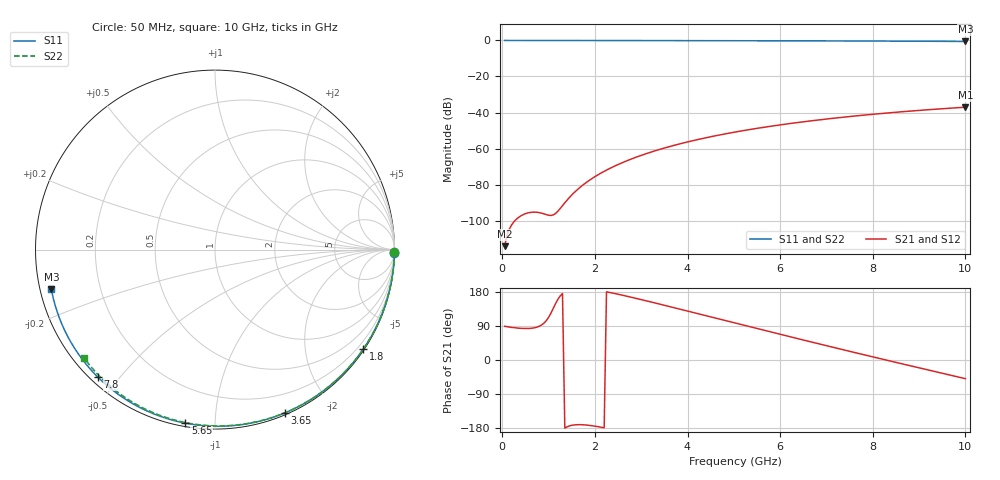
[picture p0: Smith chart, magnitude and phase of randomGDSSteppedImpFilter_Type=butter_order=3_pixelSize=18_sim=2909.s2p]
! freq	dB(S11)	phase(S11)	dB(S12)	phase(S12)
!  dB(S21)	phase(S21)	dB(S22)	phase(S22)
!S-par simulation data
#  GHz  S  DB  R 50
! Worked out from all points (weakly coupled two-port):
!   200 points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, 50 MHz to 10 GHz, reference 50 ohm
!   highest |S21| = -37.05 dB at 10 GHz (marker M1); lowest = -114.2 dB at 50 MHz (marker M2)
!   lowest |S11| = -0.6 dB at 10 GHz (marker M3), VSWR 31.30, Z = 1.62 - j5.95 ohm
!   |S11| at or under -10 dB: nowhere
!   |S22| runs from -0.5 to 0.0 dB; largest |S21 - S12| = 0
!   S11 on the Smith chart (normalised r, x): 50 MHz: open; 1.8 GHz: 0.03, -3.28; 3.65 GHz: 0.02, -1.51; 5.65 GHz: 0.02, -0.84; 7.8 GHz: 0.02, -0.44; 10 GHz: 0.03, -0.12
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0.05  -0.00 -1.0  -114.16 88.9  -114.16 88.9  -0.00 -0.8
0.45  -0.01 -8.6  -96.66 83.2  -96.66 83.2  -0.01 -7.3
0.85  -0.02 -16.2  -95.86 92.6  -95.86 92.6  -0.02 -13.7
1.3  -0.03 -24.7  -91.66 175.5  -91.66 175.5  -0.03 -20.8
1.75  -0.04 -33.0  -80.03 -171.0  -80.03 -171.0  -0.04 -27.9
1.8  -0.04 -33.9  -79.06 -171.5  -79.06 -171.5  -0.04 -28.7
2.1  -0.05 -39.4  -74.05 -176.6  -74.05 -176.6  -0.04 -33.4
2.3  -0.06 -43.1  -71.28 178.7  -71.28 178.7  -0.05 -36.5
2.5  -0.06 -46.7  -68.85 173.5  -68.85 173.5  -0.05 -39.5
2.9  -0.07 -53.8  -64.69 162.3  -64.69 162.3  -0.06 -45.6
3.4  -0.08 -62.5  -60.45 147.5  -60.45 147.5  -0.07 -53.1
3.65  -0.09 -66.9  -58.62 139.9  -58.62 139.9  -0.08 -56.8
4.35  -0.11 -78.7  -54.26 118.4  -54.26 118.4  -0.10 -66.9
5.05  -0.14 -90.1  -50.72 96.8  -50.72 96.8  -0.12 -76.8
5.65  -0.17 -99.7  -48.17 78.5  -48.17 78.5  -0.14 -85.0
6.15  -0.19 -107.5  -46.32 63.3  -46.32 63.3  -0.16 -91.7
6.7  -0.23 -116.0  -44.50 46.7  -44.50 46.7  -0.19 -98.9
7.25  -0.27 -124.3  -42.89 30.3  -42.89 30.3  -0.22 -106.0
7.8  -0.31 -132.6  -41.46 14.1  -41.46 14.1  -0.26 -113.0
8.35  -0.36 -140.9  -40.17 -1.9  -40.17 -1.9  -0.31 -119.8
9.2  -0.45 -153.9  -38.43 -26.4  -38.43 -26.4  -0.39 -130.3
10  -0.56 -166.4  -37.05 -49.2  -37.05 -49.2  -0.48 -140.2
